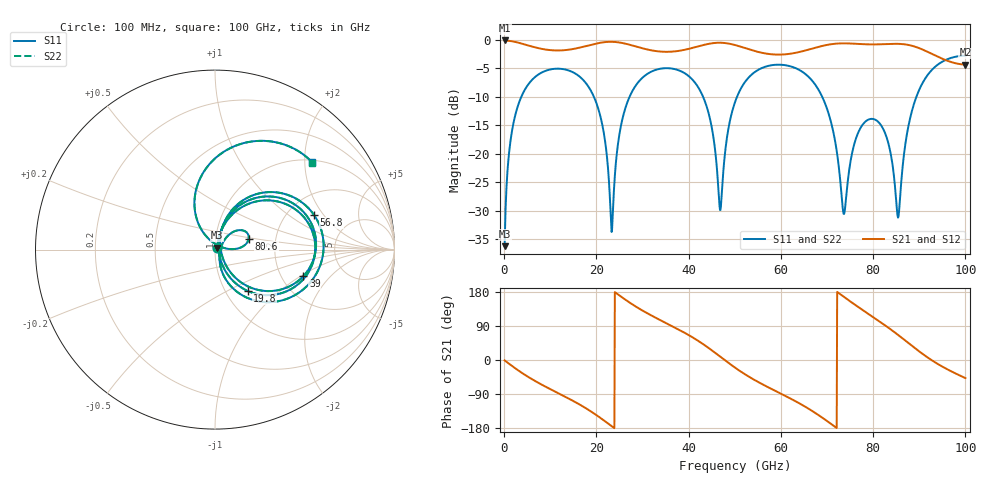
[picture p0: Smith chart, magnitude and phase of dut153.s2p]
! Touchstone file exported from HFSS 2026.1.0
!  File:  C:/ffzhzh/LocalFiles/Ansys_Project_Files/temp_train_TSV_RDL_153_1783645535_33328.aedt
!  Generated:  09:12:34 AM Jul 10, 2026
!  Design:  TSV_RDL
!  Project:  temp_train_TSV_RDL_153_1783645535_33328
! Variables:
!  h_bsmrdl = 4.3um
!  h_ox = 20um
!  h_rdl = 5um
!  h_sub = 50.48um
!  h_tmrdl = 4.89um
!  h_tsv = 50.48um
!  h_via = 3um
!  l_bsmrdl = 393.76um
!  l_sub = 2596.85um
!  l_tmrdl = 231.25um
!  m_sub = 200um
!  pitch = 50.78um
!  r_tsv = 14.57um
!  s_tmrdl = 10um
!  w_bsmrdl = 15.63um
!  w_sub = 500um
!  w_tmrdl = 14.56um
!  x_tsv_center1 = 238.53um
!  x_tsv_center2 = 647.92um
!  x_tsv_center3 = 893.73um
!  x_tsv_center4 = 1303.12um
!  x_tsv_center5 = 1548.93um
!  x_tsv_center6 = 1958.32um
# GHz S MA R 50.000000
! Terminal data exported
! Port[1] = TM_RDL1_1_T1
! Port[2] = TM_RDL5_1_T1
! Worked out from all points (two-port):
!   1000 points, 100 MHz to 100 GHz, reference 50 ohm
!   highest |S21| = -0.10 dB at 100 MHz (marker M1); lowest = -4.3 dB at 100 GHz (marker M2)
!   |S21| within 3 dB of the highest: start of sweep to 94.41 GHz
!   lowest |S11| = -36.2 dB at 100 MHz (marker M3), VSWR 1.03, Z = 51.2 + j1.01 ohm
!   |S11| at or under -10 dB: 19.46 GHz to 27.18 GHz (7.719 GHz wide, 33.1 % of centre); 43.14 GHz to 50.48 GHz (7.342 GHz wide, 15.7 % of centre); 68.96 GHz to 89.37 GHz (20.41 GHz wide, 25.8 % of centre) (the widest 3 of 4)
!   |S22| runs from -36.2 to -2.8 dB; largest |S21 - S12| = 3e-14
!   S11 on the Smith chart (normalised r, x): 100 MHz: 1.02, +0.02; 19.8 GHz: 1.26, -0.64; 39 GHz: 2.63, -1.06; 56.8 GHz: 2.76, +1.62; 80.6 GHz: 1.45, +0.19; 100 GHz: 1.06, +2.18
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0.1  0.01552 39.6  0.9882 -1.0  0.9882 -1.0  0.01552 39.6
! Gamma 0 0 0 0
! Port Impedance 50 0 50 0
1.5  0.1411 70.1  0.9751 -13.8  0.9751 -13.8  0.1411 70.1
4.3  0.3543 49.3  0.9156 -37.6  0.9156 -37.6  0.3543 49.3
16.8  0.4593 -30.6  0.8631 -120.6  0.8631 -120.6  0.4593 -30.6
19.8  0.2931 -51.7  0.9254 -143.7  0.9254 -143.7  0.2931 -51.7
23.3  0.02067 -1.0  0.9618 -174.5  0.9618 -174.5  0.02097 -0.9
26.5  0.2684 62.2  0.9217 157.4  0.9217 157.4  0.2685 62.1
33.4  0.5533 16.7  0.793 108.1  0.793 108.1  0.5534 16.6
39  0.514 -16.7  0.8162 72.8  0.8162 72.8  0.5141 -16.8
44.1  0.2453 -50.6  0.9189 33.7  0.9189 33.7  0.2453 -50.7
46.8  0.03221 -0.1  0.9438 9.3  0.9438 9.3  0.03194 -0.3
50.1  0.288 62.9  0.8999 -20.5  0.8999 -20.5  0.288 63.0
56.8  0.5845 19.3  0.7579 -69.2  0.7579 -69.2  0.5845 19.3
66.7  0.4424 -41.1  0.8365 -133.8  0.8365 -133.8  0.4424 -41.1
70.9  0.1876 -69.3  0.9159 -168.8  0.9159 -168.8  0.1876 -69.4
73.6  0.02982 -17.9  0.9321 167.1  0.9321 167.1  0.02953 -18.0
76.5  0.1448 43.8  0.9228 142.1  0.9228 142.1  0.1447 43.9
80.6  0.198 18.1  0.9128 108.3  0.9128 108.3  0.1981 18.2
83.4  0.1195 2.1  0.921 84.4  0.921 84.4  0.1196 2.3
85.4  0.0276 60.9  0.9229 66.2  0.9229 66.2  0.02803 60.8
90  0.3656 105.9  0.8454 22.6  0.8454 22.6  0.3656 105.9
100  0.7277 41.9  0.6071 -47.8  0.6071 -47.8  0.7276 41.8
